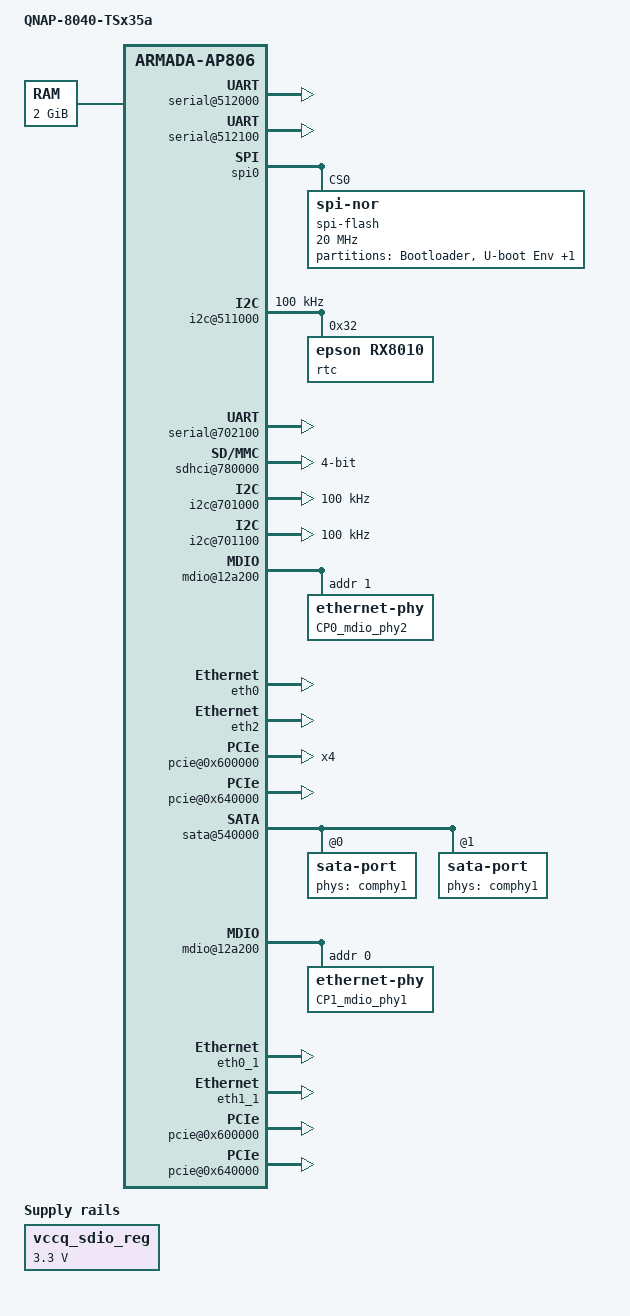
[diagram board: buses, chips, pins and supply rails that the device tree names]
/*
 * Copyright (C) 2016 Marvell Technology Group Ltd.
 *
 * This file is dual-licensed: you can use it either under the terms
 * of the GPLv2 or the X11 license, at your option. Note that this dual
 * licensing only applies to this file, and not this project as a
 * whole.
 *
 *  a) This library is free software; you can redistribute it and/or
 *     modify it under the terms of the GNU General Public License as
 *     published by the Free Software Foundation; either version 2 of the
 *     License, or (at your option) any later version.
 *
 *     This library is distributed in the hope that it will be useful,
 *     but WITHOUT ANY WARRANTY; without even the implied warranty of
 *     MERCHANTABILITY or FITNESS FOR A PARTICULAR PURPOSE.  See the
 *     GNU General Public License for more details.
 *
 * Or, alternatively,
 *
 *  b) Permission is hereby granted, free of charge, to any person
 *     obtaining a copy of this software and associated documentation
 *     files (the "Software"), to deal in the Software without
 *     restriction, including without limitation the rights to use,
 *     copy, modify, merge, publish, distribute, sublicense, and/or
 *     sell copies of the Software, and to permit persons to whom the
 *     Software is furnished to do so, subject to the following
 *     conditions:
 *
 *     The above copyright notice and this permission notice shall be
 *     included in all copies or substantial portions of the Software.
 *
 *     THE SOFTWARE IS PROVIDED "AS IS", WITHOUT WARRANTY OF ANY KIND,
 *     EXPRESS OR IMPLIED, INCLUDING BUT NOT LIMITED TO THE WARRANTIES
 *     OF MERCHANTABILITY, FITNESS FOR A PARTICULAR PURPOSE AND
 *     NONINFRINGEMENT. IN NO EVENT SHALL THE AUTHORS OR COPYRIGHT
 *     HOLDERS BE LIABLE FOR ANY CLAIM, DAMAGES OR OTHER LIABILITY,
 *     WHETHER IN AN ACTION OF CONTRACT, TORT OR OTHERWISE, ARISING
 *     FROM, OUT OF OR IN CONNECTION WITH THE SOFTWARE OR THE USE OR
 *     OTHER DEALINGS IN THE SOFTWARE.
 */

/*
 * Device Tree file for MACCHIATOBin Armada 8040 community board platform
 */

#include "armada-8040.dtsi"

/ {
	model = "QNAP-8040-TSx35a";
	compatible = "marvell,armada8040-mcbin", "marvell,armada8040",
			"marvell,armada-ap806-quad", "marvell,armada-ap806";

	aliases {
		gpio0 = &gpio0;
		gpio1 = &gpio1;
		gpio2 = &gpio2;
		gpio3 = &gpio3;
		gpio4 = &gpio4;
	};

	memory@00000000 {
		device_type = "memory";
		reg = <0x0 0x0 0x0 0x80000000>;
	};

	reserved-memory {
		pstore-area@10000000 {
			reg = <0 0x10000000 0 0x200000>;
		};
	};

	ap806 {
		config-space {
			gpio0: gpio@6F5040 {
                        };

			serial@512000 {
				status = "okay";
			};

			serial@512100 {
				status = "okay";
			};

			spi0: spi@510600 {
				status = "okay";
				spi-flash@0 {
					#address-cells = <0x1>;
					#size-cells = <0x1>;
					compatible = "jedec,spi-nor";
					reg = <0x0>;
					spi-max-frequency = <20000000>;

					partition@0 {
						label = "Bootloader";
						reg = <0 0x180000>;
					};
					partition@3F0000 {
						label = "U-boot Env";
						reg = <0x3F0000 0x10000>;
					};
					partition@400000 {
						label = "ALL partition";
						reg = <0x0 0x400000>;
					};
				};
			};

			i2c@511000 {
				clock-frequency = <100000>;
				pinctrl-names = "default";
				pinctrl-0 = <&ap_i2c0_pins>;
				status = "okay";
				rtc@32 {
					compatible = "epson,rx8010";
					reg = <0x32>;
				};

			};
		};
	};

	cpn-110-master {
		config-space {
			gpio1: gpio@440100 {
			};

			gpio2: gpio@440140 {
			};

			comphy0: comphy {
					 status = "okay";
			};
			 serial@702000 {
				 status = "disabled";
			 };

			serial@702100 {
				pinctrl-names = "default";
				pinctrl-0 = <&cpm_uart1_pins>;
				status = "okay";
			};

			sdhci@780000 {
				vqmmc-supply = <&vccq_sdio_reg>;
				bus-width = <4>;
				no-1-8-v;
				broken-cd;
				pinctrl-names = "default";
				pinctrl-0 = <&cpm_sdhci_pins>;
				status = "okay";
			};

			i2c@701000 {
				clock-frequency = <100000>;
				pinctrl-names = "default";
				pinctrl-0 = <&cpm_i2c0_pins>;
				status = "okay";
			};

			i2c@701100 {
				clock-frequency = <100000>;
				pinctrl-names = "default";
				pinctrl-0 = <&cpm_i2c1_pins>;
				status = "okay";
			};

			sata@540000 {
				status = "disabled";
			};

			mdio@12a200{
				#address-cells = <1>;
				#size-cells = <0>;
				CP0_mdio_phy2: ethernet-phy@2 {
					reg = <0x1>;
					marvell,reg-init = <3 0x10 0 0x12>,
						<3 0x12 0xff7f 0x80>;
					marvell,int-active-low = <1>;
				};
			};

			gop {
				emac0: mac0 {
					phy-mode = "sfi"; /* lane-4 */
					phys = <&comphy0 4 COMPHY_SFI>;
					phy-names = "comphy";
					led-active = <102 1>; /* NUM Active_low */
					led-link = <103 1>;
				};

				emac2: mac2 {
					phy-mode = "none"; /* disabled */
				};

				emac3: mac3 {
					phy-mode = "rgmii"; /* rgmii-2 */
					phy = <&CP0_mdio_phy2>;
				};
			};

			ppv22@000000 {
				pinctrl-names = "default";
				pinctrl-0 = <&cpm_ge2_rgmii_pins>; /* RGMII mpps */

				eth0: eth0@010000 {
					status = "okay";
				};

				eth1: eth1@020000 {
					status = "disabled";
				};

				eth2: eth2@030000 {
					status = "okay";
				};
			};

			eip197@800000 {
				status = "disabled";
			};

			comphy {
				status = "okay";
			};

			eip197@800000 {
				status = "okay";
			};

			dma_xor@6a0000 { status = "disabled"; };
			dma_xor@6c0000 { status = "disabled"; };
		};

		pcie@0x600000 {
			num-lanes = <4>;
			status = "okay";
		};

		pcie@0x620000 {
			status = "disabled";
		};

		pcie@0x640000 {
			status = "okay";
		};

		vccq_sdio_reg: regulator@1 {
			compatible = "regulator-fixed";
			regulator-name = "vccq-sdio-reg";
			regulator-min-microvolt = <3300000>;
			regulator-max-microvolt = <3300000>;
			regulator-always-on;
			status = "okay";
		};
	};

	cpn-110-slave {
		config-space {
			comphy1: comphy {
				status = "okay";
			};
			gpio3: gpio@440100 {
				       compatible = "marvell,orion-gpio";
				       reg = <0x440100 0x40>;
				       ngpios = <32>;
				       gpiobase = <20>;
				       gpio-controller;
				       interrupt-controller;
				       interrupts = <ICU_GRP_NSR 86 IRQ_TYPE_LEVEL_HIGH>,
						  <ICU_GRP_NSR 85 IRQ_TYPE_LEVEL_HIGH>,
						  <ICU_GRP_NSR 84 IRQ_TYPE_LEVEL_HIGH>,
						  <ICU_GRP_NSR 83 IRQ_TYPE_LEVEL_HIGH>;
			};

			gpio4: gpio@440140 {
				       compatible = "marvell,orion-gpio";
				       reg = <0x440140 0x40>;
				       ngpios = <32>;
				       gpiobase = <20>;
				       gpio-controller;
				       interrupt-controller;
				       interrupts = <ICU_GRP_NSR 86 IRQ_TYPE_LEVEL_HIGH>,
						  <ICU_GRP_NSR 85 IRQ_TYPE_LEVEL_HIGH>,
						  <ICU_GRP_NSR 84 IRQ_TYPE_LEVEL_HIGH>,
						  <ICU_GRP_NSR 83 IRQ_TYPE_LEVEL_HIGH>;
			};

			sata@540000 {
				status = "okay";
				sata-port@0 {
					phys = <&comphy1 2 COMPHY_SATA0>;
					phy-names = "comphy";
					status = "okay";
				};
				sata-port@1 {
					phys = <&comphy1 3 COMPHY_SATA1>;
					phy-names = "comphy";
					status = "okay";
				};
			};

			mdio@12a200{
				#address-cells = <1>;
				#size-cells = <0>;
				CP1_mdio_phy1: ethernet-phy@1 {
					reg = <0x0>;
					marvell,reg-init = <3 0x10 0 0x12>,
						<3 0x12 0xff7f 0x80>;
					marvell,int-active-low = <1>;
				};
			};
			mdio@15b000 { /* xmdio */
				#address-cells = <1>;
				#size-cells = <0>;
			};

			gop {
				emac0_1: mac0 {
					phy-mode = "sfi"; /* lane-4 */
					phys = <&comphy1 4 COMPHY_SFI>;
					phy-names = "comphy";
					led-active = <110 1>; /* NUM Active_low */
					led-link = <121 1>;
				};

				emac2_1: mac2 {
					phy-mode = "rgmii"; /* rgmii-2 */
					phy = <&CP1_mdio_phy1>;
				};

				emac3_1: mac3 {
					phy-mode = "none"; /* NC */
				};
			};

			ppv22@000000 {
				pinctrl-names = "default";
				pinctrl-0 = <&cps_ge1_rgmii_pins_1>;

				eth0_1: eth0@010000 {
					status = "okay";
				};

				eth1_1: eth1@020000 {
					status = "okay";
				};

				eth2_1: eth2@030000 {
					status = "disabled";
				};
			};

			comphy {
				status = "okay";
			};

			nand@720000 {
				status = "disabled";
			};

			tdm@7a0000 {
				status = "disabled";
			};

			eip197@800000 {
				status = "okay";
			};
			pinctrl@440000 {
				sfp0_active_pin: sfp0-active {
					marvell,pins = "mpp6";
					marvell,function = "active";
				};
				sfp0_link_pin: sfp0-link {
					marvell,pins = "mpp7";
					marvell,function = "link";
				};
				sfp1_active_pin: sfp1-active {
					marvell,pins = "mpp14";
					marvell,function = "active";
				};
				sfp1_link_pin: sfp1-link {
					marvell,pins = "mpp25";
					marvell,function = "link";
				};
			};
			dma_xor@6a0000 { status = "disabled"; };
			dma_xor@6c0000 { status = "disabled"; };
		};

		pcie@0x600000 {
			ranges = <0x81000000 0 0xfd000000 0  0xfd000000 0 0x10000       /* downstream I/O */
				0x82000000 0 0xc0000000 0  0xc0000000 0 0x18000000>;    /* non-prefetchable memory */
			status = "okay";
		};

		pcie@0x620000 {
			status = "disabled";
		};

		pcie@0x640000 {
			ranges = <0x81000000 0 0xfd020000 0  0xfd020000 0 0x10000       /* downstream I/O */
				0x82000000 0 0xd8000000 0  0xd8000000 0 0x18000000>;    /* non-prefetchable memory */
			status = "okay";
		};
	};
};

